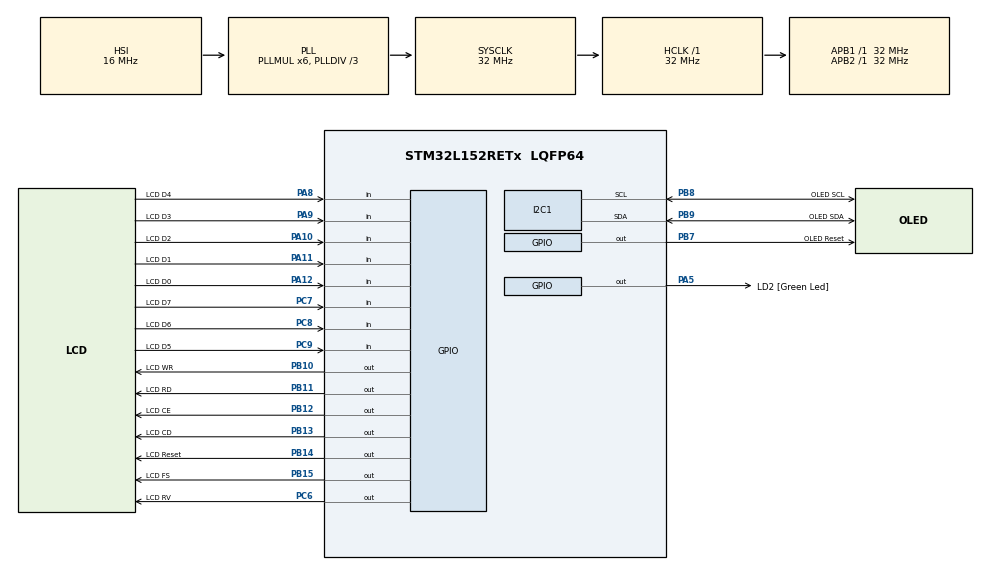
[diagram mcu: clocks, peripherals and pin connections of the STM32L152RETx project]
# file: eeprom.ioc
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Mcu.Family=STM32L1
Mcu.Name=STM32L152RETx
Mcu.Package=LQFP64
NVIC.PriorityGroup=NVIC_PRIORITYGROUP_0
PA10.GPIO_Label=LCD D2
PA10.Signal=GPIO_Input
PA11.GPIO_Label=LCD D1
PA11.Signal=GPIO_Input
PA12.GPIO_Label=LCD D0
PA12.Signal=GPIO_Input
PA13.GPIO_Label=TMS
PA13.Signal=SYS_JTMS-SWDIO
PA14.GPIO_Label=TCK
PA14.Signal=SYS_JTCK-SWCLK
PA2.GPIO_Label=USART_TX
PA2.Signal=USART2_TX
PA3.GPIO_Label=USART_RX
PA3.Signal=USART2_RX
PA5.GPIO_Label=LD2 [Green Led]
PA5.Signal=GPIO_Output
PA8.GPIO_Label=LCD D4
PA8.Signal=GPIO_Input
PA9.GPIO_Label=LCD D3
PA9.Signal=GPIO_Input
PB10.GPIO_Label=LCD WR
PB10.GPIO_Speed=GPIO_SPEED_FREQ_VERY_HIGH
PB10.PinState=GPIO_PIN_SET
PB10.Signal=GPIO_Output
PB11.GPIO_Label=LCD RD
PB11.GPIO_Speed=GPIO_SPEED_FREQ_VERY_HIGH
PB11.PinState=GPIO_PIN_SET
PB11.Signal=GPIO_Output
PB12.GPIO_Label=LCD CE
PB12.GPIO_Speed=GPIO_SPEED_FREQ_VERY_HIGH
PB12.PinState=GPIO_PIN_SET
PB12.Signal=GPIO_Output
PB13.GPIO_Label=LCD CD
PB13.GPIO_Speed=GPIO_SPEED_FREQ_VERY_HIGH
PB13.Signal=GPIO_Output
PB14.GPIO_Label=LCD Reset
PB14.GPIO_Speed=GPIO_SPEED_FREQ_VERY_HIGH
PB14.PinState=GPIO_PIN_SET
PB14.Signal=GPIO_Output
PB15.GPIO_Label=LCD FS
PB15.GPIO_Speed=GPIO_SPEED_FREQ_VERY_HIGH
PB15.Signal=GPIO_Output
PB3.GPIO_Label=SWO
PB3.Signal=SYS_JTDO-TRACESWO
PB7.GPIO_Label=OLED Reset
PB7.GPIO_Speed=GPIO_SPEED_FREQ_VERY_HIGH
PB7.PinState=GPIO_PIN_SET
PB7.Signal=GPIO_Output
PB8.GPIO_Label=OLED SCL
PB8.Mode=I2C
PB8.Signal=I2C1_SCL
PB9.GPIO_Label=OLED SDA
PB9.Mode=I2C
PB9.Signal=I2C1_SDA
PC14-OSC32_IN.Signal=RCC_OSC32_IN
PC15-OSC32_OUT.Signal=RCC_OSC32_OUT
PC6.GPIO_Label=LCD RV
PC6.GPIO_Speed=GPIO_SPEED_FREQ_VERY_HIGH
PC6.Signal=GPIO_Output
PC7.GPIO_Label=LCD D7
PC7.Signal=GPIO_Input
PC8.GPIO_Label=LCD D6
PC8.Signal=GPIO_Input
PC9.GPIO_Label=LCD D5
PC9.Signal=GPIO_Input
PH0-OSC_IN.Signal=RCC_OSC_IN
PH1-OSC_OUT.Signal=RCC_OSC_OUT
ProjectManager.HeapSize=0x200
ProjectManager.StackSize=0x400
ProjectManager.TargetToolchain=TrueSTUDIO
RCC.48MHZClocksFreq_Value=48000000
RCC.AHBFreq_Value=32000000
RCC.APB1Freq_Value=32000000
RCC.APB1TimFreq_Value=32000000
RCC.APB2Freq_Value=32000000
RCC.APB2TimFreq_Value=32000000
RCC.HCLKFreq_Value=32000000
RCC.HSE_VALUE=8000000
RCC.HSI_VALUE=16000000
RCC.LSE_VALUE=32768
RCC.MSI_VALUE=2097000
RCC.PLLDIV=RCC_PLL_DIV3
RCC.PLLMUL=RCC_PLL_MUL6
RCC.RTCClockSelectionVirtual=RCC_RTCCLKSOURCE_LSE
RCC.SYSCLKFreq_VALUE=32000000
RCC.SYSCLKSource=RCC_SYSCLKSOURCE_PLLCLK
RCC.USBOutput=48000000
RCC.VCOOutputFreq_Value=96000000
board=NUCLEO-L152RE

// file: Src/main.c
/**
  ******************************************************************************
  * File Name          : main.c
  * Description        : Main program body
  ******************************************************************************
  ** This notice applies to any and all portions of this file
  * that are not between comment pairs USER CODE BEGIN and
  * USER CODE END. Other portions of this file, whether
  * inserted by the user or by software development tools
  * are owned by their respective copyright owners.
  *
  * COPYRIGHT(c) 2018 STMicroelectronics
  *
  * Redistribution and use in source and binary forms, with or without modification,
  * are permitted provided that the following conditions are met:
  *   1. Redistributions of source code must retain the above copyright notice,
  *      this list of conditions and the following disclaimer.
  *   2. Redistributions in binary form must reproduce the above copyright notice,
  *      this list of conditions and the following disclaimer in the documentation
  *      and/or other materials provided with the distribution.
  *   3. Neither the name of STMicroelectronics nor the names of its contributors
  *      may be used to endorse or promote products derived from this software
  *      without specific prior written permission.
  *
  * THIS SOFTWARE IS PROVIDED BY THE COPYRIGHT HOLDERS AND CONTRIBUTORS "AS IS"
  * AND ANY EXPRESS OR IMPLIED WARRANTIES, INCLUDING, BUT NOT LIMITED TO, THE
  * IMPLIED WARRANTIES OF MERCHANTABILITY AND FITNESS FOR A PARTICULAR PURPOSE ARE
  * DISCLAIMED. IN NO EVENT SHALL THE COPYRIGHT HOLDER OR CONTRIBUTORS BE LIABLE
  * FOR ANY DIRECT, INDIRECT, INCIDENTAL, SPECIAL, EXEMPLARY, OR CONSEQUENTIAL
  * DAMAGES (INCLUDING, BUT NOT LIMITED TO, PROCUREMENT OF SUBSTITUTE GOODS OR
  * SERVICES; LOSS OF USE, DATA, OR PROFITS; OR BUSINESS INTERRUPTION) HOWEVER
  * CAUSED AND ON ANY THEORY OF LIABILITY, WHETHER IN CONTRACT, STRICT LIABILITY,
  * OR TORT (INCLUDING NEGLIGENCE OR OTHERWISE) ARISING IN ANY WAY OUT OF THE USE
  * OF THIS SOFTWARE, EVEN IF ADVISED OF THE POSSIBILITY OF SUCH DAMAGE.
  *
  ******************************************************************************
  */

#include "main.h"
#include "stm32l1xx_hal.h"

/* USER CODE BEGIN Includes */
#include "ssd1306.h"
#include "ra6963.h"
/* USER CODE END Includes */

I2C_HandleTypeDef hi2c1;

/* USER CODE BEGIN PV */
/* Private variables ---------------------------------------------------------*/

/* USER CODE END PV */

void SystemClock_Config(void);
static void MX_GPIO_Init(void);
static void MX_I2C1_Init(void);

/* USER CODE BEGIN PFP */
/* Private function prototypes -----------------------------------------------*/
HAL_StatusTypeDef writeEepromByte(uint32_t address, uint8_t data);
uint8_t readEepromByte(uint32_t address/*, uint8_t* data*/);
/* USER CODE END PFP */

int main(void)
{

  /* USER CODE BEGIN 1 */
  uint8_t byte;
  char display[30];
  /* USER CODE END 1 */

  /* MCU Configuration----------------------------------------------------------*/

  /* Reset of all peripherals, Initializes the Flash interface and the Systick. */
  HAL_Init();

  /* Configure the system clock */
  SystemClock_Config();

  /* Initialize all configured peripherals */
  MX_GPIO_Init();
  MX_I2C1_Init();

  /* USER CODE BEGIN 2 */
  ssd1306Init();
  ra6963Init();

  ra6963ClearGraphic();
  ra6963ClearText();
  ra6963ClearCG();

  //writeEepromByte(0, 13);
  byte = readEepromByte(0);
  sprintf(display, "%d", byte);
  ssd1306_WriteString(display, 1);
  updateScreen();

  ra6963TextGoTo(0, 0);
  ra6963WriteString(display);
  /* USER CODE END 2 */

  /* Infinite loop */
  while (1)
  {
  }

}

/** System Clock Configuration
*/
void SystemClock_Config(void)
{

  RCC_OscInitTypeDef RCC_OscInitStruct;
  RCC_ClkInitTypeDef RCC_ClkInitStruct;

    /**Configure the main internal regulator output voltage
    */
  __HAL_PWR_VOLTAGESCALING_CONFIG(PWR_REGULATOR_VOLTAGE_SCALE1);

    /**Initializes the CPU, AHB and APB busses clocks
    */
  RCC_OscInitStruct.OscillatorType = RCC_OSCILLATORTYPE_HSI;
  RCC_OscInitStruct.HSIState = RCC_HSI_ON;
  RCC_OscInitStruct.HSICalibrationValue = 16;
  RCC_OscInitStruct.PLL.PLLState = RCC_PLL_ON;
  RCC_OscInitStruct.PLL.PLLSource = RCC_PLLSOURCE_HSI;
  RCC_OscInitStruct.PLL.PLLMUL = RCC_PLL_MUL6;
  RCC_OscInitStruct.PLL.PLLDIV = RCC_PLL_DIV3;
  if (HAL_RCC_OscConfig(&RCC_OscInitStruct) != HAL_OK)
  {
    _Error_Handler(__FILE__, __LINE__);
  }

    /**Initializes the CPU, AHB and APB busses clocks
    */
  RCC_ClkInitStruct.ClockType = RCC_CLOCKTYPE_HCLK|RCC_CLOCKTYPE_SYSCLK
                              |RCC_CLOCKTYPE_PCLK1|RCC_CLOCKTYPE_PCLK2;
  RCC_ClkInitStruct.SYSCLKSource = RCC_SYSCLKSOURCE_PLLCLK;
  RCC_ClkInitStruct.AHBCLKDivider = RCC_SYSCLK_DIV1;
  RCC_ClkInitStruct.APB1CLKDivider = RCC_HCLK_DIV1;
  RCC_ClkInitStruct.APB2CLKDivider = RCC_HCLK_DIV1;

  if (HAL_RCC_ClockConfig(&RCC_ClkInitStruct, FLASH_LATENCY_1) != HAL_OK)
  {
    _Error_Handler(__FILE__, __LINE__);
  }

    /**Configure the Systick interrupt time
    */
  HAL_SYSTICK_Config(HAL_RCC_GetHCLKFreq()/1000);

    /**Configure the Systick
    */
  HAL_SYSTICK_CLKSourceConfig(SYSTICK_CLKSOURCE_HCLK);

  /* SysTick_IRQn interrupt configuration */
  HAL_NVIC_SetPriority(SysTick_IRQn, 0, 0);
}

/* I2C1 init function */
static void MX_I2C1_Init(void)
{

  hi2c1.Instance = I2C1;
  hi2c1.Init.ClockSpeed = 100000;
  hi2c1.Init.DutyCycle = I2C_DUTYCYCLE_2;
  hi2c1.Init.OwnAddress1 = 0;
  hi2c1.Init.AddressingMode = I2C_ADDRESSINGMODE_7BIT;
  hi2c1.Init.DualAddressMode = I2C_DUALADDRESS_DISABLE;
  hi2c1.Init.OwnAddress2 = 0;
  hi2c1.Init.GeneralCallMode = I2C_GENERALCALL_DISABLE;
  hi2c1.Init.NoStretchMode = I2C_NOSTRETCH_DISABLE;
  if (HAL_I2C_Init(&hi2c1) != HAL_OK)
  {
    _Error_Handler(__FILE__, __LINE__);
  }

}

/** Configure pins as
        * Analog
        * Input
        * Output
        * EVENT_OUT
        * EXTI
     PA2   ------> USART2_TX
     PA3   ------> USART2_RX
*/
static void MX_GPIO_Init(void)
{

  GPIO_InitTypeDef GPIO_InitStruct;

  /* GPIO Ports Clock Enable */
  __HAL_RCC_GPIOC_CLK_ENABLE();
  __HAL_RCC_GPIOH_CLK_ENABLE();
  __HAL_RCC_GPIOA_CLK_ENABLE();
  __HAL_RCC_GPIOB_CLK_ENABLE();

  /*Configure GPIO pin Output Level */
  HAL_GPIO_WritePin(LD2_GPIO_Port, LD2_Pin, GPIO_PIN_RESET);

  /*Configure GPIO pin Output Level */
  HAL_GPIO_WritePin(GPIOB, LCD_WR_Pin|LCD_RD_Pin|LCD_CE_Pin|LCD_Reset_Pin
                          |OLED_Reset_Pin, GPIO_PIN_SET);

  /*Configure GPIO pin Output Level */
  HAL_GPIO_WritePin(GPIOB, LCD_CD_Pin|LCD_FS_Pin, GPIO_PIN_RESET);

  /*Configure GPIO pin Output Level */
  HAL_GPIO_WritePin(LCD_RV_GPIO_Port, LCD_RV_Pin, GPIO_PIN_RESET);

  /*Configure GPIO pins : USART_TX_Pin USART_RX_Pin */
  GPIO_InitStruct.Pin = USART_TX_Pin|USART_RX_Pin;
  GPIO_InitStruct.Mode = GPIO_MODE_AF_PP;
  GPIO_InitStruct.Pull = GPIO_NOPULL;
  GPIO_InitStruct.Speed = GPIO_SPEED_FREQ_VERY_HIGH;
  GPIO_InitStruct.Alternate = GPIO_AF7_USART2;
  HAL_GPIO_Init(GPIOA, &GPIO_InitStruct);

  /*Configure GPIO pin : LD2_Pin */
  GPIO_InitStruct.Pin = LD2_Pin;
  GPIO_InitStruct.Mode = GPIO_MODE_OUTPUT_PP;
  GPIO_InitStruct.Pull = GPIO_NOPULL;
  GPIO_InitStruct.Speed = GPIO_SPEED_FREQ_LOW;
  HAL_GPIO_Init(LD2_GPIO_Port, &GPIO_InitStruct);

  /*Configure GPIO pins : LCD_WR_Pin LCD_RD_Pin LCD_CE_Pin LCD_CD_Pin
                           LCD_Reset_Pin LCD_FS_Pin OLED_Reset_Pin */
  GPIO_InitStruct.Pin = LCD_WR_Pin|LCD_RD_Pin|LCD_CE_Pin|LCD_CD_Pin
                          |LCD_Reset_Pin|LCD_FS_Pin|OLED_Reset_Pin;
  GPIO_InitStruct.Mode = GPIO_MODE_OUTPUT_PP;
  GPIO_InitStruct.Pull = GPIO_NOPULL;
  GPIO_InitStruct.Speed = GPIO_SPEED_FREQ_VERY_HIGH;
  HAL_GPIO_Init(GPIOB, &GPIO_InitStruct);

  /*Configure GPIO pin : LCD_RV_Pin */
  GPIO_InitStruct.Pin = LCD_RV_Pin;
  GPIO_InitStruct.Mode = GPIO_MODE_OUTPUT_PP;
  GPIO_InitStruct.Pull = GPIO_NOPULL;
  GPIO_InitStruct.Speed = GPIO_SPEED_FREQ_VERY_HIGH;
  HAL_GPIO_Init(LCD_RV_GPIO_Port, &GPIO_InitStruct);

  /*Configure GPIO pins : LCD_D7_Pin LCD_D6_Pin LCD_D5_Pin */
  GPIO_InitStruct.Pin = LCD_D7_Pin|LCD_D6_Pin|LCD_D5_Pin;
  GPIO_InitStruct.Mode = GPIO_MODE_INPUT;
  GPIO_InitStruct.Pull = GPIO_NOPULL;
  HAL_GPIO_Init(GPIOC, &GPIO_InitStruct);

  /*Configure GPIO pins : LCD_D4_Pin LCD_D3_Pin LCD_D2_Pin LCD_D1_Pin
                           LCD_D0_Pin */
  GPIO_InitStruct.Pin = LCD_D4_Pin|LCD_D3_Pin|LCD_D2_Pin|LCD_D1_Pin
                          |LCD_D0_Pin;
  GPIO_InitStruct.Mode = GPIO_MODE_INPUT;
  GPIO_InitStruct.Pull = GPIO_NOPULL;
  HAL_GPIO_Init(GPIOA, &GPIO_InitStruct);

}

/* USER CODE BEGIN 4 */
HAL_StatusTypeDef writeEepromByte(uint32_t address, uint8_t data)
{
	HAL_StatusTypeDef status;
	address = address + 0x08080000;
	HAL_FLASHEx_DATAEEPROM_Unlock();
	status = HAL_FLASHEx_DATAEEPROM_Program(TYPEPROGRAMDATA_BYTE, address, data);
	HAL_FLASHEx_DATAEEPROM_Lock();
	return status;
}

uint8_t readEepromByte(uint32_t address/*, uint8_t* data*/)
{
	HAL_StatusTypeDef status = HAL_OK;
	uint8_t tmp = 0;
	address = address + 0x08080000;
	tmp/**data*/ = *(__IO uint32_t*)address;
	return tmp;
}
/* USER CODE END 4 */

void _Error_Handler(char * file, int line)
{
  while(1)
  {
  }
}

/************************ (C) COPYRIGHT STMicroelectronics *****END OF FILE****/
